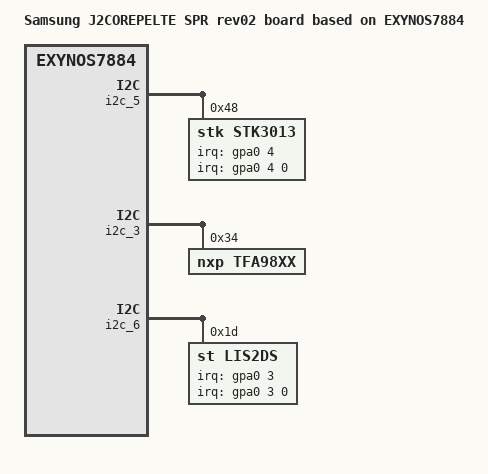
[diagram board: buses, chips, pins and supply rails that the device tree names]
/*
 * SAMSUNG UNIVERSAL7885 board device tree source
 *
 * Copyright (c) 2013 Samsung Electronics Co., Ltd.
 *		http://www.samsung.com
 *
 * This program is free software; you can redistribute it and/or modify
 * it under the terms of the GNU General Public License version 2 as
 * published by the Free Software Foundation.
*/

/dts-v1/;
#include "exynos7884-j2corepelte_common.dtsi"
#include "exynos7884-j2corepelte_usa_spr_gpio_00.dtsi"
#include "battery_data_j2corepelte_usa_00.dtsi"

/ {
	model = "Samsung J2COREPELTE SPR rev02 board based on EXYNOS7884";
	model_info-chip = <7885>;
	model_info-platform = "android";
	model_info-subtype = "samsung";
	model_info-hw_rev = <2>;
	model_info-hw_rev_end = <255>;
	compatible = "samsung, J2COREPELTE SPR rev02", "samsung,Universal7884";

	i2c_5: i2c@13880000 {
		status = "okay";
		#address-cells = <1>;
		#size-cells = <0>;
		samsung,i2c-sda-delay = <100>;
		pinctrl-names = "default";
		pinctrl-0 = <&sensor_en &prox_i2c>;

		stk3013@48 {
			compatible = "stk,stk3013";
			reg = <0x48>;
			interrupt-parent = <&gpa0>;
			interrupts = <4 0 0>;
			pinctrl-names = "default";
			pinctrl-0 = <&prox_int>;
			stk,irq-gpio = <&gpa0 4 0x00>;
			stk,state-reg = <0x2c>;
			stk,psctrl-reg = <0x71>;
			stk,alsctrl-reg = <0x2A>;
			stk,ledctrl-reg = <0xBF>;
			stk,wait-reg = <0x03>;
			stk,ps-thd-h = <15>;
			stk,ps-thd-l = <8>;
			stk,ps-cancel-thd-h = <10>;
			stk,ps-cancel-thd-l = <7>;
			stk,ps-cal-skip-adc = <7>;
			stk,ps-cal-fail-adc = <23>;
			stk,ps-default-offset = <3>;
			stk,transmittance = <500>;
		};
	};

	speedy@11CE0000 {
		audio_codec_cod3035x: cod3035x@03 {
		use-lassenA;
		};
	};

	i2c_3: i2c@13860000 {
		status = "okay";
		tfa98xx: tfa98xx@34 {
			compatible = "nxp,tfa98xx";
			#sound-dai-cells = <1>;
			reg = <0x34>;
		};
	};

	abox: abox@0x14A50000 {
		abox_synchronized_ipc: abox_synchronized_ipc {
			compatible = "samsung,abox-synchronized-ipc";
			#sound-dai-cells = <1>;
			abox = <&abox>;
		};

	};

	sound {
		status = "okay";
		compatible = "samsung,exynos7885-cod3035";
		mic-bias-mode = <1 1 2 0>;
		clock-names = "xclkout";
		samsung,codec = <&abox>;

		samsung,routing =  "VOUTPUT", "ABOX UAIF0 Playback",
				 "VOUTPUTCALL", "ABOX UAIF2 Playback",
				 "ABOX UAIF2 Capture", "VINPUTCALL",
				 "ABOX SPEEDY Capture", "VINPUTFM",
				 // "SPK", "ABOX UAIF3 Playback",
				 // "ABOX UAIF3 Capture", "VI";
				 "SPK", "AIF Playback-8-34",
				 "AIF Playback-8-34", "ABOX UAIF3 Playback",
				 "ABOX UAIF3 Capture", "AIF Capture-8-34";

		uaif@3 {
			platform {
				sound-dai = <&abox_synchronized_ipc 0>;
			};
			codec {
				sound-dai = <&tfa98xx 0>;
			};
		};

	};

	i2c_6: i2c@13890000 {
		status = "okay";
		#address-cells = <1>;
		#size-cells = <0>;
		samsung,i2c-sda-delay = <100>;
		samsung,i2c-max-bus-freq = <400000>;
		pinctrl-names = "default";
		pinctrl-0 = <&acc_i2c>;

		lis2ds@1D {
			compatible = "st,lis2ds";
			reg = <0x1D>;
			pinctrl-names = "default";
			pinctrl-0 = <&acc_int>;
			interrupt-parent = <&gpa0>;
			interrupts = <3 0 0>;
			st,orientation = <1 0 1 2 1 1 1 1 0>;
			st,irq_gpio = <&gpa0 3 0x00>;
		};
	};

};

